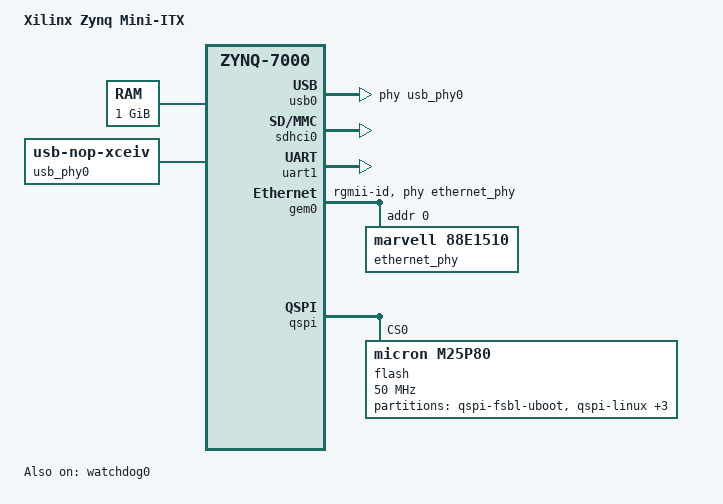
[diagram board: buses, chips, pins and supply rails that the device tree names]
/include/ "zynq-7000.dtsi"

/ {
	model = "Xilinx Zynq Mini-ITX";

	memory {
		device_type = "memory";
		reg = <0x00000000 0x40000000>;
	};

	chosen {
		bootargs = "console=ttyPS0,115200 root=/dev/mmcblk0p2 rw earlyprintk rootfstype=ext4 rootwait devtmpfs.mount=0";
		linux,stdout-path = &uart1;
		stdout-path = &uart1;
	};

	usb_phy0: phy0 {
		compatible = "usb-nop-xceiv";
		#phy-cells = <0>;
	};
};

&usb0 {
	status = "okay";
	usb-phy = <&usb_phy0>;
	xlnx,phy-reset-gpio = <&gpio0 7 0>;
};

&sdhci0 {
	status = "okay";
	xlnx,has-cd = <0x1>;
	xlnx,has-power = <0x0>;
	xlnx,has-wp = <0x1>;
	xlnx,sdio-clk-freq-hz = <0x3f93e10>;
};

&uart1 {
	status = "okay";
};

&watchdog0 {
	status = "okay";
	reset-on-timeout;
};

&gem0 {
	status = "okay";
	compatible = "xlnx,ps7-ethernet-1.00.a";
	clocks = <&clkc 30>, <&clkc 13>;
	clock-names =  "aper_clk", "ref_clk";
	xlnx,enet-clk-freq-hz = <0x7735940>;
	xlnx,enet-reset = <0xffffffff>;
	xlnx,eth-mode = <0x1>;
	xlnx,has-mdio = <0x1>;
	xlnx,ptp-enet-clock = <0x69f6bcb>;
	phy-handle = <&ethernet_phy>;
	phy-mode = "rgmii-id";

	ethernet_phy: ethernet-phy@0 {
		compatible = "marvell,88e1510";
		marvell,reg-init=<3 16 0xff00 0x1e 3 17 0xfff0 0x0a>;
		reg = <0>;
	} ;
};

&qspi {
	status = "okay";

	flash@0 {
		compatible = "micron,m25p80", "spansion,s25fl128s", "jedec,spi-nor";
		reg = <0x0>;
		spi-tx-bus-width = <1>;
		spi-rx-bus-width = <4>;
		spi-max-frequency = <50000000>;
		#address-cells = <0x1>;
		#size-cells = <0x1>;

		partition@qspi-fsbl-uboot {
			label = "qspi-fsbl-uboot";
			reg = <0x0 0x100000>;
		};

		partition@qspi-linux {
			label = "qspi-linux";
			reg = <0x100000 0x500000>;
		};

		partition@qspi-device-tree {
			label = "qspi-device-tree";
			reg = <0x600000 0x20000>;
		};

		partition@qspi-rootfs {
			label = "qspi-rootfs";
			reg = <0x620000 0x5e0000>;
		};

		partition@qspi-bitstream {
			label = "qspi-bitstream";
			reg = <0xc00000 0x400000>;
		};
	};
};
